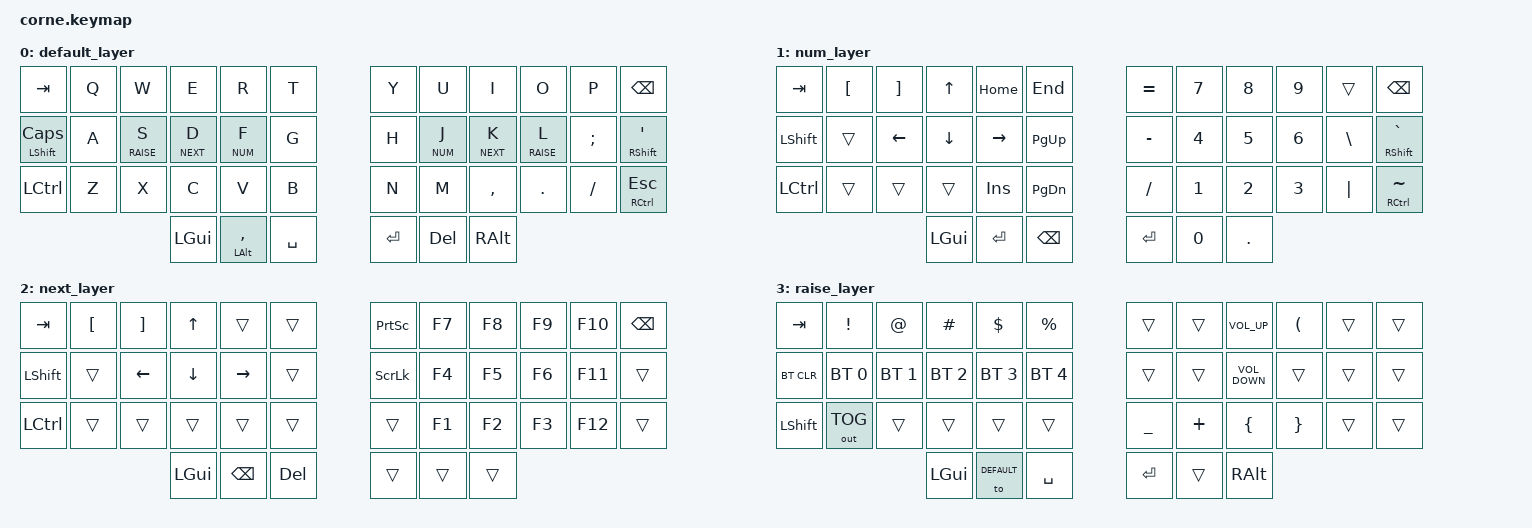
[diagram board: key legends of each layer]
/*
 * Copyright (c) 2020 The ZMK Contributors
 *
 * SPDX-License-Identifier: MIT
 */

#include <behaviors.dtsi>
#include <dt-bindings/zmk/keys.h>
#include <dt-bindings/zmk/bt.h>
#include <dt-bindings/zmk/outputs.h>

#define DEFAULT 0
#define NUM     1
#define NEXT    2
#define RAISE   3

/ {
       
        keymap {
                compatible = "zmk,keymap";

                default_layer {
// -----------------------------------------------------------------------------------------
// |  TAB          |  Q  |  W      |  E      |  R     |  T  |   |  Y  |  U    |  I   |  O        |  P  | BKSP      |
// | SHFT/CAPSLOCK |  A  | RAISE S | NEXT D  | NUM F  |  G  |   |  H  | NUM J |NEXT K|  RAISE L  |  ;  |  ' /SHFT  |
// | CTRL          |  Z  |  X      |  C      |  V     |  B  |   |  N  |  M    |  ,   |  .        |  /  | ESC / CTRL|
//                                 | GUI     | L ALT  | SPC |   | ENT | DEL   |R ALT |
                        bindings = <
   &kp TAB            &kp Q &kp W        &kp E      &kp R            &kp T     &kp Y   &kp U      &kp I      &kp O        &kp P    &kp BSPC
   &mt LSHFT CAPSLOCK &kp A &lt RAISE S  &lt NEXT D &lt NUM F        &kp G     &kp H   &lt NUM J  &lt NEXT K &lt RAISE L  &kp SEMI &mt RSHFT SQT
   &kp LCTRL          &kp Z &kp X        &kp C      &kp V            &kp B     &kp N   &kp M      &kp COMMA  &kp DOT      &kp FSLH &mt RCTRL ESC
                                         &kp LGUI   &mt LALT COMMA   &kp SPACE &kp RET &kp DEL    &kp RALT
                        >;
                };
                num_layer {
// -----------------------------------------------------------------------------------------
// |  TAB |  [  |  ]  |  UP | HOME| END  |   |  =  |  7  |  8  |  9  |     | BKSP     |
// | SHFT |     | LFT | DWN | RGT | PGUP |   |  -  |  4  |  5  |  6  |  \  | SHFT / ` |
// | CTRL |     |     |     | INS | PGDWN|   |  /  |  1  |  2  |  3  | "|" | CTRL / ~ |
//                    | GUI | ENT | BKSP |   | ENT |  0  |  .  |
                        bindings = <
   &kp TAB    &kp LBKT &kp RBKT      &kp UP       &kp HOME   &kp END       &kp EQUAL &kp N7   &kp N8   &kp N9 &trans        &kp BSPC
   &kp LSHFT  &trans   &kp LEFT      &kp DOWN     &kp RIGHT  &kp PAGE_UP   &kp MINUS &kp N4   &kp N5   &kp N6 &kp BACKSLASH &mt RSHIFT GRAVE
   &kp LCTRL  &trans   &trans        &trans       &kp INS    &kp PAGE_DOWN &kp FSLH  &kp N1   &kp N2   &kp N3 &kp PIPE      &mt RCTRL TILDE
              &kp LGUI &kp RET       &kp BSPC                         &kp RET   &kp N0   &kp DOT
                        >;
                };
                next_layer {
// -----------------------------------------------------------------------------------------
// |  TAB |  [  |  ]  |  UP |      |     |   |PSCRN |  F7  |  F8  |  F9  |  F10   | BKSP |
// | SHFT |     | LFT | DWN | RGT  |     |   |SCRLCK|  F4  |  F5  |  F6  |  F11   |      |
// | CTRL |     |     |     |      |     |   |      |  F1  |  F2  |  F3  |  F12   |      |
//                    | GUI | BKSP | DEL |   |      |      |      |
                        bindings = <
   &kp TAB    &kp LBKT &kp RBKT      &kp UP       &trans      &trans    &kp PSCRN &kp F7   &kp F8   &kp F9 &kp F10 &kp BSPC
   &kp LSHFT  &trans   &kp LEFT      &kp DOWN     &kp RIGHT   &trans    &kp SLCK  &kp F4   &kp F5   &kp F6 &kp F11 &trans
   &kp LCTRL  &trans   &trans        &trans       &trans      &trans    &trans    &kp F1   &kp F2   &kp F3 &kp F12 &trans
              &kp LGUI &kp BSPC      &kp DEL      &trans      &trans    &trans
                        >;
                };
                raise_layer {
// -----------------------------------------------------------------------------------------
// |  TAB |  !  |  @  |  #  |  $  |  %  |   |  blk   |  blk  |  volume up   |  (  |   |   |
// | BTCLR| BT1 | BT2 | BT3 | BT4 | BT5 |   |        |       |  volume dwn  |     |   |   |
// | SHFT |BLET |     |     |     |     |   |  _     |  +    |  {           |  }  |   |   |
//                    | GUI |NEXT | SPC |   | ENT    |       | ALT          |
                        bindings = <
   &kp TAB    &kp EXCL     &kp AT       &kp HASH     &kp DLLR     &kp PRCNT      &trans      &trans    &kp C_VOLUME_UP      &kp LPAR &trans &trans
   &bt BT_CLR &bt BT_SEL 0 &bt BT_SEL 1 &bt BT_SEL 2 &bt BT_SEL 3 &bt BT_SEL 4   &trans      &trans    &kp C_VOLUME_DOWN    &trans   &trans &trans
   &kp LSHFT  &out OUT_TOG &trans       &trans       &trans       &trans         &kp UNDER   &kp PLUS  &kp LBRC             &kp RBRC &trans &trans
                    	      &kp LGUI     &to DEFAULT     &kp SPACE                   &kp RET     &trans    &kp RALT
                        >;
                };
                
        };
};
